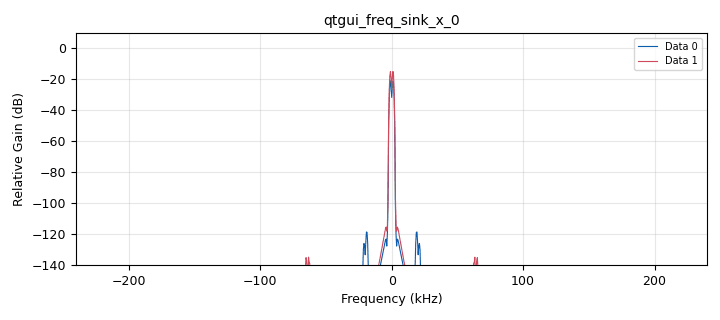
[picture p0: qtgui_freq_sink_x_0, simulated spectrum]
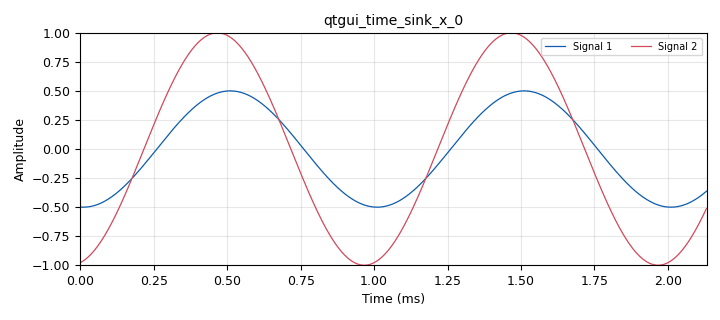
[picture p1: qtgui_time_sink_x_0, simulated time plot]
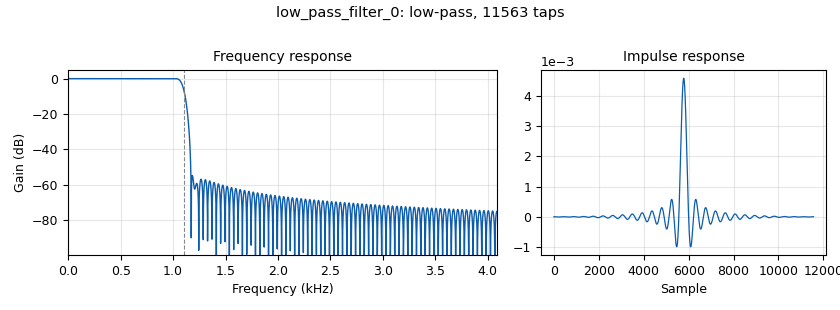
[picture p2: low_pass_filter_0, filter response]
options:
  parameters:
    generate_options: qt_gui
    id: dsb_comm
    output_language: python
    title: Not titled yet
  states: {}

blocks:
- name: samp_rate
  id: variable
  parameters:
    value: '480000'
  states: {}
- name: analog_sig_source_x_0
  id: analog_sig_source_x
  parameters:
    amp: '1'
    freq: '10000'
    offset: '0'
    phase: '0'
    samp_rate: samp_rate
    type: float
    waveform: analog.GR_COS_WAVE
  states: {}
- name: analog_sig_source_x_0_0
  id: analog_sig_source_x
  parameters:
    amp: '1'
    freq: '1000'
    offset: '0'
    phase: '0'
    samp_rate: samp_rate
    type: float
    waveform: analog.GR_COS_WAVE
  states: {}
- name: blocks_multiply_xx_0
  id: blocks_multiply_xx
  parameters:
    type: float
  states: {}
- name: blocks_multiply_xx_1
  id: blocks_multiply_xx
  parameters:
    type: float
  states: {}
- name: low_pass_filter_0
  id: low_pass_filter
  parameters:
    cutoff_freq: '1100'
    decim: '1'
    gain: '1'
    samp_rate: samp_rate
    type: fir_filter_fff
    width: '100'
    win: window.WIN_HAMMING
  states: {}
- name: qtgui_freq_sink_x_0
  id: qtgui_freq_sink_x
  parameters:
    bw: samp_rate
    fc: '0'
    fftsize: '1024'
    nconnections: '2'
    type: float
  states: {}
- name: qtgui_time_sink_x_0
  id: qtgui_time_sink_x
  parameters:
    nconnections: '2'
    size: '1024'
    srate: samp_rate
    type: float
  states: {}

connections:
- [analog_sig_source_x_0, '0', blocks_multiply_xx_0, '1']
- [analog_sig_source_x_0, '0', blocks_multiply_xx_1, '1']
- [analog_sig_source_x_0_0, '0', blocks_multiply_xx_0, '0']
- [analog_sig_source_x_0_0, '0', qtgui_freq_sink_x_0, '1']
- [analog_sig_source_x_0_0, '0', qtgui_time_sink_x_0, '1']
- [blocks_multiply_xx_0, '0', blocks_multiply_xx_1, '0']
- [blocks_multiply_xx_1, '0', low_pass_filter_0, '0']
- [low_pass_filter_0, '0', qtgui_freq_sink_x_0, '0']
- [low_pass_filter_0, '0', qtgui_time_sink_x_0, '0']

metadata:
  file_format: 1
